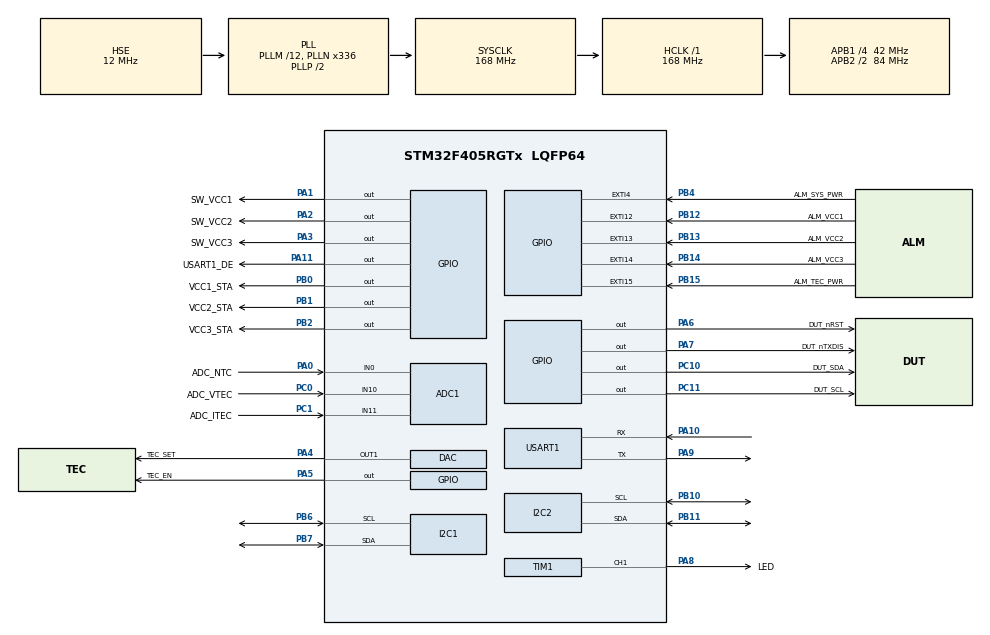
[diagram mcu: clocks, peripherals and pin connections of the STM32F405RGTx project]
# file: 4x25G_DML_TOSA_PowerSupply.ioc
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ADC1.Channel-0\#ChannelRegularConversion=ADC_CHANNEL_0
ADC1.NbrOfConversionFlag=1
ADC1.Rank-0\#ChannelRegularConversion=1
ADC1.SamplingTime-0\#ChannelRegularConversion=ADC_SAMPLETIME_3CYCLES
ADC1.master=1
DAC.DAC_OutputBuffer=DAC_OUTPUTBUFFER_DISABLE
FREERTOS.Tasks01=defaultTask,0,256,StartDefaultTask,Default,NULL,Dynamic,NULL,NULL
FREERTOS.configTICK_RATE_HZ=100
I2C1.I2C_Mode=I2C_Fast
I2C2.I2C_Mode=I2C_Fast
Mcu.Family=STM32F4
Mcu.Name=STM32F405RGTx
Mcu.Package=LQFP64
NVIC.I2C1_ER_IRQn=true\:5\:0\:false\:false\:true\:true\:true\:true
NVIC.I2C2_ER_IRQn=true\:5\:0\:false\:false\:true\:true\:true\:true
NVIC.PriorityGroup=NVIC_PRIORITYGROUP_4
NVIC.TIM6_DAC_IRQn=true\:0\:0\:false\:false\:true\:false\:false\:true
NVIC.TIM7_IRQn=true\:5\:0\:false\:false\:true\:true\:true\:true
NVIC.TimeBase=TIM6_DAC_IRQn
NVIC.TimeBaseIP=TIM6
NVIC.USART1_IRQn=true\:5\:0\:false\:false\:true\:true\:true\:true
PA0-WKUP.GPIO_Label=ADC_NTC
PA0-WKUP.Signal=ADCx_IN0
PA1.GPIO_Label=SW_VCC1
PA1.GPIO_PuPd=GPIO_PULLUP
PA1.Signal=GPIO_Output
PA10.Mode=Asynchronous
PA10.Signal=USART1_RX
PA11.GPIO_Label=USART1_DE
PA11.GPIO_ModeDefaultOutputPP=GPIO_MODE_OUTPUT_OD
PA11.GPIO_PuPd=GPIO_PULLUP
PA11.Signal=GPIO_Output
PA13.Mode=Trace_Asynchronous_SW
PA13.Signal=SYS_JTMS-SWDIO
PA14.Mode=Trace_Asynchronous_SW
PA14.Signal=SYS_JTCK-SWCLK
PA2.GPIO_Label=SW_VCC2
PA2.GPIO_PuPd=GPIO_PULLUP
PA2.Signal=GPIO_Output
PA3.GPIO_Label=SW_VCC3
PA3.GPIO_PuPd=GPIO_PULLUP
PA3.Signal=GPIO_Output
PA4.GPIO_Label=TEC_SET
PA4.Signal=COMP_DAC1_group
PA5.GPIO_Label=TEC_EN
PA5.GPIO_PuPd=GPIO_PULLUP
PA5.Signal=GPIO_Output
PA6.GPIO_Label=DUT_nRST
PA6.GPIO_PuPd=GPIO_PULLUP
PA6.Signal=GPIO_Output
PA7.GPIO_Label=DUT_nTXDIS
PA7.GPIO_PuPd=GPIO_PULLUP
PA7.Signal=GPIO_Output
PA8.GPIO_Label=LED
PA8.Signal=S_TIM1_CH1
PA9.Mode=Asynchronous
PA9.Signal=USART1_TX
PB0.GPIO_Label=VCC1_STA
PB0.GPIO_PuPd=GPIO_PULLUP
PB0.PinState=GPIO_PIN_SET
PB0.Signal=GPIO_Output
PB1.GPIO_Label=VCC2_STA
PB1.GPIO_PuPd=GPIO_PULLUP
PB1.PinState=GPIO_PIN_SET
PB1.Signal=GPIO_Output
PB10.Mode=I2C
PB10.Signal=I2C2_SCL
PB11.Mode=I2C
PB11.Signal=I2C2_SDA
PB12.GPIO_Label=ALM_VCC1
PB12.GPIO_PuPd=GPIO_PULLUP
PB12.Signal=GPXTI12
PB13.GPIO_Label=ALM_VCC2
PB13.GPIO_PuPd=GPIO_PULLUP
PB13.Signal=GPXTI13
PB14.GPIO_Label=ALM_VCC3
PB14.GPIO_PuPd=GPIO_PULLUP
PB14.Signal=GPXTI14
PB15.GPIO_Label=ALM_TEC_PWR
PB15.GPIO_PuPd=GPIO_PULLUP
PB15.Signal=GPXTI15
PB2.GPIO_Label=VCC3_STA
PB2.GPIO_PuPd=GPIO_PULLUP
PB2.PinState=GPIO_PIN_SET
PB2.Signal=GPIO_Output
PB3.Mode=Trace_Asynchronous_SW
PB3.Signal=SYS_JTDO-SWO
PB4.GPIO_Label=ALM_SYS_PWR
PB4.GPIO_PuPd=GPIO_PULLUP
PB4.Signal=GPXTI4
PB6.Mode=I2C
PB6.Signal=I2C1_SCL
PB7.Mode=I2C
PB7.Signal=I2C1_SDA
PC0.GPIO_Label=ADC_VTEC
PC0.Signal=ADCx_IN10
PC1.GPIO_Label=ADC_ITEC
PC1.Signal=ADCx_IN11
PC10.GPIO_Label=DUT_SDA
PC10.GPIO_ModeDefaultOutputPP=GPIO_MODE_OUTPUT_OD
PC10.GPIO_PuPd=GPIO_PULLUP
PC10.GPIO_Speed=GPIO_SPEED_FREQ_HIGH
PC10.PinState=GPIO_PIN_SET
PC10.Signal=GPIO_Output
PC11.GPIO_Label=DUT_SCL
PC11.GPIO_ModeDefaultOutputPP=GPIO_MODE_OUTPUT_OD
PC11.GPIO_PuPd=GPIO_PULLUP
PC11.GPIO_Speed=GPIO_SPEED_FREQ_HIGH
PC11.PinState=GPIO_PIN_SET
PC11.Signal=GPIO_Output
PH0-OSC_IN.Mode=HSE-External-Oscillator
PH0-OSC_IN.Signal=RCC_OSC_IN
PH1-OSC_OUT.Mode=HSE-External-Oscillator
PH1-OSC_OUT.Signal=RCC_OSC_OUT
ProjectManager.HeapSize=0x200
ProjectManager.StackSize=0x400
ProjectManager.TargetToolchain=STM32CubeIDE
RCC.48MHZClocksFreq_Value=84000000
RCC.AHBFreq_Value=168000000
RCC.APB1CLKDivider=RCC_HCLK_DIV4
RCC.APB1Freq_Value=42000000
RCC.APB1TimFreq_Value=84000000
RCC.APB2CLKDivider=RCC_HCLK_DIV2
RCC.APB2Freq_Value=84000000
RCC.APB2TimFreq_Value=168000000
RCC.CortexFreq_Value=168000000
RCC.HCLKFreq_Value=168000000
RCC.HSE_VALUE=12000000
RCC.HSI_VALUE=16000000
RCC.LSE_VALUE=32768
RCC.PLLM=12
RCC.PLLN=336
RCC.PLLSourceVirtual=RCC_PLLSOURCE_HSE
RCC.SYSCLKFreq_VALUE=168000000
RCC.SYSCLKSource=RCC_SYSCLKSOURCE_PLLCLK
RCC.VCOOutputFreq_Value=336000000
SH.ADCx_IN0.0=ADC1_IN0,IN0
SH.ADCx_IN10.0=ADC1_IN10,IN10
SH.ADCx_IN11.0=ADC1_IN11,IN11
SH.COMP_DAC1_group.0=DAC_OUT1,DAC_OUT1
SH.S_TIM1_CH1.0=TIM1_CH1,PWM Generation1 CH1
TIM1.Channel-PWM\ Generation1\ CH1=TIM_CHANNEL_1
TIM1.Period=999
TIM1.Prescaler=168
TIM1.Pulse-PWM\ Generation1\ CH1=800
TIM7.Period=49
TIM7.Prescaler=167
USART1.VirtualMode=VM_ASYNC
VP_FREERTOS_VS_CMSIS_V1.Mode=CMSIS_V1
VP_SYS_VS_tim6.Mode=TIM6
VP_TIM7_VS_ClockSourceINT.Mode=Enable_Timer
board=custom

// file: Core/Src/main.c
/* USER CODE BEGIN Header */
/**
  ******************************************************************************
  * @file           : main.c
  * @brief          : Main program body
  ******************************************************************************
  * @attention
  *
  * <h2><center>&copy; Copyright (c) 2020 STMicroelectronics.
  * All rights reserved.</center></h2>
  *
  * This software component is licensed by ST under BSD 3-Clause license,
  * the "License"; You may not use this file except in compliance with the
  * License. You may obtain a copy of the License at:
  *                        opensource.org/licenses/BSD-3-Clause
  *
  ******************************************************************************
  */
/* USER CODE END Header */
#include "main.h"
#include "cmsis_os.h"
#include "adc.h"
#include "dac.h"
#include "i2c.h"
#include "tim.h"
#include "usart.h"
#include "gpio.h"

void SystemClock_Config(void);
void MX_FREERTOS_Init(void);

int main(void)
{

  /* MCU Configuration--------------------------------------------------------*/

  /* Reset of all peripherals, Initializes the Flash interface and the Systick. */
  HAL_Init();

  /* Configure the system clock */
  SystemClock_Config();

  /* Initialize all configured peripherals */
  MX_GPIO_Init();
  MX_DAC_Init();
  MX_I2C1_Init();
  MX_TIM1_Init();
  MX_USART1_UART_Init();
  MX_ADC1_Init();
  MX_I2C2_Init();
  MX_TIM7_Init();

  /* Call init function for freertos objects (in freertos.c) */
  MX_FREERTOS_Init();
  /* Start scheduler */
  osKernelStart();

  /* We should never get here as control is now taken by the scheduler */
  /* Infinite loop */
  while (1)
  {

  }
}

void SystemClock_Config(void)
{
  RCC_OscInitTypeDef RCC_OscInitStruct = {0};
  RCC_ClkInitTypeDef RCC_ClkInitStruct = {0};

  /** Configure the main internal regulator output voltage
  */
  __HAL_RCC_PWR_CLK_ENABLE();
  __HAL_PWR_VOLTAGESCALING_CONFIG(PWR_REGULATOR_VOLTAGE_SCALE1);
  /** Initializes the RCC Oscillators according to the specified parameters
  * in the RCC_OscInitTypeDef structure.
  */
  RCC_OscInitStruct.OscillatorType = RCC_OSCILLATORTYPE_HSE;
  RCC_OscInitStruct.HSEState = RCC_HSE_ON;
  RCC_OscInitStruct.PLL.PLLState = RCC_PLL_ON;
  RCC_OscInitStruct.PLL.PLLSource = RCC_PLLSOURCE_HSE;
  RCC_OscInitStruct.PLL.PLLM = 12;
  RCC_OscInitStruct.PLL.PLLN = 336;
  RCC_OscInitStruct.PLL.PLLP = RCC_PLLP_DIV2;
  RCC_OscInitStruct.PLL.PLLQ = 4;
  if (HAL_RCC_OscConfig(&RCC_OscInitStruct) != HAL_OK)
  {
    Error_Handler();
  }
  /** Initializes the CPU, AHB and APB buses clocks
  */
  RCC_ClkInitStruct.ClockType = RCC_CLOCKTYPE_HCLK|RCC_CLOCKTYPE_SYSCLK
                              |RCC_CLOCKTYPE_PCLK1|RCC_CLOCKTYPE_PCLK2;
  RCC_ClkInitStruct.SYSCLKSource = RCC_SYSCLKSOURCE_PLLCLK;
  RCC_ClkInitStruct.AHBCLKDivider = RCC_SYSCLK_DIV1;
  RCC_ClkInitStruct.APB1CLKDivider = RCC_HCLK_DIV4;
  RCC_ClkInitStruct.APB2CLKDivider = RCC_HCLK_DIV2;

  if (HAL_RCC_ClockConfig(&RCC_ClkInitStruct, FLASH_LATENCY_5) != HAL_OK)
  {
    Error_Handler();
  }
}

 /**
  * @brief  Period elapsed callback in non blocking mode
  * @note   This function is called  when TIM6 interrupt took place, inside
  * HAL_TIM_IRQHandler(). It makes a direct call to HAL_IncTick() to increment
  * a global variable "uwTick" used as application time base.
  * @param  htim : TIM handle
  * @retval None
  */
void HAL_TIM_PeriodElapsedCallback(TIM_HandleTypeDef *htim)
{
  if (htim->Instance == TIM6) {
    HAL_IncTick();
  }
}

void Error_Handler(void)
{
}

/************************ (C) COPYRIGHT STMicroelectronics *****END OF FILE****/

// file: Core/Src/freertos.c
/* USER CODE BEGIN Header */
/**
  ******************************************************************************
  * File Name          : freertos.c
  * Description        : Code for freertos applications
  ******************************************************************************
  * @attention
  *
  * <h2><center>&copy; Copyright (c) 2020 STMicroelectronics.
  * All rights reserved.</center></h2>
  *
  * This software component is licensed by ST under Ultimate Liberty license
  * SLA0044, the "License"; You may not use this file except in compliance with
  * the License. You may obtain a copy of the License at:
  *                             www.st.com/SLA0044
  *
  ******************************************************************************
  */
/* USER CODE END Header */

#include "FreeRTOS.h"
#include "task.h"
#include "main.h"
#include "cmsis_os.h"

/* USER CODE BEGIN Includes */
#include "mb.h"
#include "tim.h"
#include "mb_os_def.h"
#include "top.h"
/* USER CODE END Includes */

/* USER CODE BEGIN PTD */

// the following handles are defined in the mb_impl_xxx.c files.
extern MB_MSG_TypeDef MB_MSG_Coil;
extern MB_MSG_TypeDef MB_MSG_Disc;
extern MB_MSG_TypeDef MB_MSG_Holding;
extern MB_MSG_TypeDef MB_MSG_Input;

osSemaphoreId semADBusyHandle;

/* USER CODE END PTD */

/* USER CODE BEGIN Variables */

osThreadId modbusPollingTaskHandle;
osThreadId pidTuningTaskHandle;

/* USER CODE END Variables */
osThreadId defaultTaskHandle;

/* USER CODE BEGIN FunctionPrototypes */

void StartModbusPollingTask(void const * argument);
void StartTaskRegHolding(void const * argument);
void StartPidTuningTask(void const * argument);

/* USER CODE END FunctionPrototypes */

void StartDefaultTask(void const * argument);

void MX_FREERTOS_Init(void); /* (MISRA C 2004 rule 8.1) */

/* GetIdleTaskMemory prototype (linked to static allocation support) */
void vApplicationGetIdleTaskMemory( StaticTask_t **ppxIdleTaskTCBBuffer, StackType_t **ppxIdleTaskStackBuffer, uint32_t *pulIdleTaskStackSize );

/* USER CODE BEGIN GET_IDLE_TASK_MEMORY */
static StaticTask_t xIdleTaskTCBBuffer;
static StackType_t xIdleStack[configMINIMAL_STACK_SIZE];

void vApplicationGetIdleTaskMemory( StaticTask_t **ppxIdleTaskTCBBuffer, StackType_t **ppxIdleTaskStackBuffer, uint32_t *pulIdleTaskStackSize )
{
  *ppxIdleTaskTCBBuffer = &xIdleTaskTCBBuffer;
  *ppxIdleTaskStackBuffer = &xIdleStack[0];
  *pulIdleTaskStackSize = configMINIMAL_STACK_SIZE;
  /* place for user code */
}
/* USER CODE END GET_IDLE_TASK_MEMORY */

void MX_FREERTOS_Init(void) {

  /* USER CODE BEGIN RTOS_SEMAPHORES */
  /* add semaphores, ... */
  osSemaphoreDef(semADBusy);
  semADBusyHandle = osSemaphoreCreate(osSemaphore(semADBusy), 1);
  /* USER CODE END RTOS_SEMAPHORES */

  /* Create the thread(s) */
  /* definition and creation of defaultTask */
  osThreadDef(defaultTask, StartDefaultTask, osPriorityNormal, 0, 256);
  defaultTaskHandle = osThreadCreate(osThread(defaultTask), NULL);

  /* USER CODE BEGIN RTOS_THREADS */
  osThreadDef(modbusPollingTask, StartModbusPollingTask, osPriorityNormal, 0, 256);
  modbusPollingTaskHandle = osThreadCreate(osThread(modbusPollingTask), NULL);

  osThreadDef(pidTuningTask, StartPidTuningTask, osPriorityAboveNormal, 0, 256);
  pidTuningTaskHandle = osThreadCreate(osThread(pidTuningTask), NULL);

  CreateMbCoilProcTask();
  CreateMbHoldingProcTask();

  /* USER CODE END RTOS_THREADS */

}

void StartDefaultTask(void const * argument)
{
  /* USER CODE BEGIN StartDefaultTask */

  int i = 0;

  // initialize the board.
  Top_Init();

  /* Infinite loop */
  for(;;)
  {
    if(i % 20 == 0)
    {
      Top_TurnOnLed();
      osDelay(10);
    }

    if(i % 30 == 0)
    {
      Top_TurnOffLed();
      i = 0;
    }

    i++;

    osDelay(50);

    Top_UpdateStatus();

  }
  /* USER CODE END StartDefaultTask */
}

/* USER CODE BEGIN Application */
void StartModbusPollingTask(void const * argument)
{
  eMBInit(MB_RTU, 0X01, 1, 115200, MB_PAR_NONE);
  eMBEnable();
  for(;;)
  {
    eMBPoll();
  }
}

void StartPidTuningTask(void const * argument)
{
  #include "adn8835.h"

  for(;;)
  {
    if(adn8835.IsAutoTuningStarted == 0)
      osDelay(100);
    else
    {
      Top_TecTune();
      osDelay(env->TECConf.SamplingIntervalMs);
    }

  }
}

/* USER CODE END Application */

/************************ (C) COPYRIGHT STMicroelectronics *****END OF FILE****/
